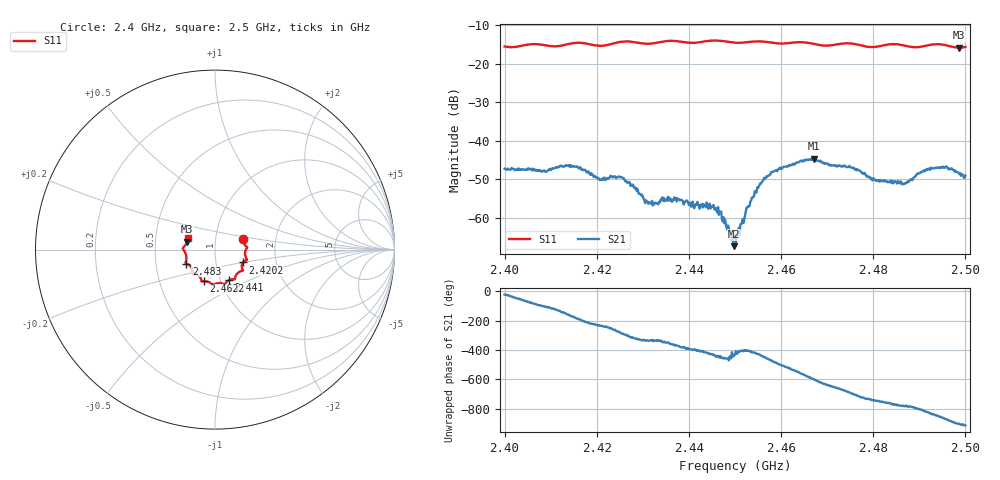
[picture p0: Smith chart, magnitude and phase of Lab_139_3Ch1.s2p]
# Hz S RI R 50
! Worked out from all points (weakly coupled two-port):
!   601 points, 2.4 GHz to 2.5 GHz, reference 50 ohm
!   highest |S21| = -44.63 dB at 2.4672 GHz (marker M1); lowest = -67.4 dB at 2.4498 GHz (marker M2)
!   lowest |S11| = -15.8 dB at 2.4987 GHz (marker M3), VSWR 1.39, Z = 36.4 + j3.28 ohm
!   |S11| at or under -10 dB: start of sweep to end of sweep
!   S12 and S22 are empty: the file has one direction only
!   S11 on the Smith chart (normalised r, x): 2.4 GHz: 1.36, +0.17; 2.4202 GHz: 1.35, -0.20; 2.441 GHz: 1.09, -0.39; 2.4622 GHz: 0.83, -0.30; 2.483 GHz: 0.72, -0.12; 2.5 GHz: 0.73, +0.09
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2.4e9  0.1565 0.0604  0.004 -0.00171  0 0  0 0
2.416667e9  0.1775 -0.0582  -0.004 0.00131  0 0  0 0
2.420167e9  0.156 -0.0718  -0.00203 0.00254  0 0  0 0
2.425333e9  0.1564 -0.114  0.000997 0.00323  0 0  0 0
2.430667e9  0.1282 -0.1294  0.00154 0.000698  0 0  0 0
2.433333e9  0.1129 -0.1523  0.00136 0.000627  0 0  0 0
2.437333e9  0.1069 -0.1652  0.00161 -0.000258  0 0  0 0
2.441e9  0.0768 -0.1706  0.00107 -0.000873  0 0  0 0
2.445833e9  0.052 -0.1941  0.000188 -0.00132  0 0  0 0
2.449833e9  0.0284 -0.1863  0.000102 -0.000416  0 0  0 0
2.45e9  0.0267 -0.1861  0.000185 -0.000575  0 0  0 0
2.452833e9  0.000741 -0.1913  0.00101 -0.000985  0 0  0 0
2.455833e9  -0.0133 -0.1945  0.000406 -0.00288  0 0  0 0
2.462167e9  -0.0631 -0.1762  -0.00476 -0.000772  0 0  0 0
2.466667e9  -0.0766 -0.1669  -0.00325 0.00462  0 0  0 0
2.467167e9  -0.0778 -0.1634  -0.00288 0.00511  0 0  0 0
2.483e9  -0.1593 -0.0781  0.00222 -0.00199  0 0  0 0
2.483333e9  -0.161 -0.0774  0.00225 -0.00188  0 0  0 0
2.486833e9  -0.161 -0.0608  0.00127 -0.00251  0 0  0 0
2.493e9  -0.1787 0.00311  -0.00204 -0.00387  0 0  0 0
2.498667e9  -0.1561 0.0439  -0.00372 0.000146  0 0  0 0
2.5e9  -0.153 0.0628  -0.00344 0.000859  0 0  0 0
